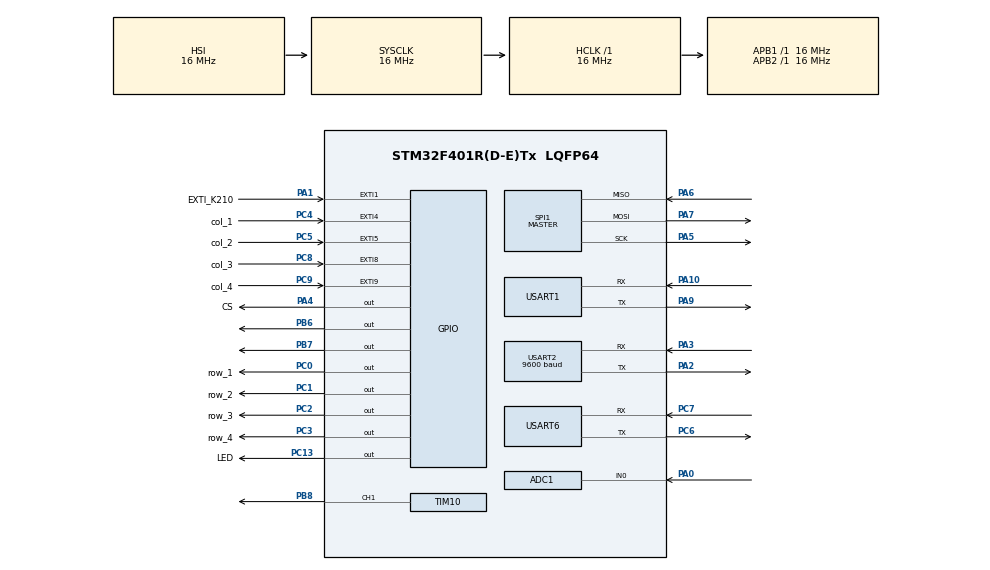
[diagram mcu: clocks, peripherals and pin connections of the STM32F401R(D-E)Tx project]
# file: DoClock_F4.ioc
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ADC1.Channel-0\#ChannelRegularConversion=ADC_CHANNEL_0
ADC1.NbrOfConversionFlag=1
ADC1.Rank-0\#ChannelRegularConversion=1
ADC1.SamplingTime-0\#ChannelRegularConversion=ADC_SAMPLETIME_3CYCLES
ADC1.master=1
FREERTOS.Queues01=xKeyIntQueue,16,uint16_t,0,Dynamic,NULL,NULL;xKeyValueQueue,16,uint16_t,0,Dynamic,NULL,NULL
FREERTOS.Tasks01=defaultTask,24,128,StartDefaultTask,Default,NULL,Dynamic,NULL,NULL;Menu1,8,128,vTaskMenu1,Default,NULL,Dynamic,NULL,NULL;Menu2,8,128,vTaskMenu2,Default,NULL,Dynamic,NULL,NULL;Menu3,8,128,vTaskMenu3,Default,NULL,Dynamic,NULL,NULL;KeyScan,16,128,vTaskKeyScan,Default,NULL,Dynamic,NULL,NULL;KeyProcess,8,128,vTaskKeyProcess,Default,NULL,Dynamic,NULL,NULL
Mcu.Family=STM32F4
Mcu.Name=STM32F401R(D-E)Tx
Mcu.Package=LQFP64
NVIC.EXTI1_IRQn=true\:5\:0\:false\:false\:true\:true\:true\:true\:true
NVIC.EXTI4_IRQn=true\:5\:0\:false\:false\:true\:true\:true\:true\:true
NVIC.EXTI9_5_IRQn=true\:5\:0\:false\:false\:true\:true\:true\:true\:true
NVIC.PriorityGroup=NVIC_PRIORITYGROUP_4
NVIC.TIM1_TRG_COM_TIM11_IRQn=true\:15\:0\:false\:false\:true\:false\:false\:true\:true
NVIC.TimeBase=TIM1_TRG_COM_TIM11_IRQn
NVIC.TimeBaseIP=TIM11
PA0-WKUP.Signal=ADCx_IN0
PA1.GPIO_Label=EXTI_K210
PA1.Signal=GPXTI1
PA10.Mode=Asynchronous
PA10.Signal=USART1_RX
PA13.Mode=Serial_Wire
PA13.Signal=SYS_JTMS-SWDIO
PA14.Mode=Serial_Wire
PA14.Signal=SYS_JTCK-SWCLK
PA2.Mode=Asynchronous
PA2.Signal=USART2_TX
PA3.Mode=Asynchronous
PA3.Signal=USART2_RX
PA4.GPIO_Label=CS
PA4.Signal=GPIO_Output
PA5.Mode=Full_Duplex_Master
PA5.Signal=SPI1_SCK
PA6.Mode=Full_Duplex_Master
PA6.Signal=SPI1_MISO
PA7.Mode=Full_Duplex_Master
PA7.Signal=SPI1_MOSI
PA9.Mode=Asynchronous
PA9.Signal=USART1_TX
PB6.Signal=GPIO_Output
PB7.Signal=GPIO_Output
PB8.Signal=S_TIM10_CH1
PC0.GPIO_Label=row_1
PC0.PinState=GPIO_PIN_SET
PC0.Signal=GPIO_Output
PC1.GPIO_Label=row_2
PC1.PinState=GPIO_PIN_SET
PC1.Signal=GPIO_Output
PC13-ANTI_TAMP.GPIO_Label=LED
PC13-ANTI_TAMP.Signal=GPIO_Output
PC14-OSC32_IN.Mode=LSE-External-Oscillator
PC14-OSC32_IN.Signal=RCC_OSC32_IN
PC15-OSC32_OUT.Mode=LSE-External-Oscillator
PC15-OSC32_OUT.Signal=RCC_OSC32_OUT
PC2.GPIO_Label=row_3
PC2.PinState=GPIO_PIN_SET
PC2.Signal=GPIO_Output
PC3.GPIO_Label=row_4
PC3.PinState=GPIO_PIN_SET
PC3.Signal=GPIO_Output
PC4.GPIO_Label=col_1
PC4.GPIO_PuPd=GPIO_PULLDOWN
PC4.Signal=GPXTI4
PC5.GPIO_Label=col_2
PC5.GPIO_PuPd=GPIO_PULLDOWN
PC5.Signal=GPXTI5
PC6.Mode=Asynchronous
PC6.Signal=USART6_TX
PC7.Mode=Asynchronous
PC7.Signal=USART6_RX
PC8.GPIO_Label=col_3
PC8.GPIO_PuPd=GPIO_PULLDOWN
PC8.Signal=GPXTI8
PC9.GPIO_Label=col_4
PC9.GPIO_PuPd=GPIO_PULLDOWN
PC9.Signal=GPXTI9
PH0\ -\ OSC_IN.Mode=HSE-External-Oscillator
PH0\ -\ OSC_IN.Signal=RCC_OSC_IN
PH1\ -\ OSC_OUT.Mode=HSE-External-Oscillator
PH1\ -\ OSC_OUT.Signal=RCC_OSC_OUT
ProjectManager.HeapSize=0x200
ProjectManager.StackSize=0x400
ProjectManager.TargetToolchain=MDK-ARM V5.32
RCC.AHBFreq_Value=16000000
RCC.APB1Freq_Value=16000000
RCC.APB2Freq_Value=16000000
RCC.CortexFreq_Value=16000000
RCC.HSE_VALUE=25000000
RCC.HSI_VALUE=16000000
RCC.RCC_RTC_Clock_Source=RCC_RTCCLKSOURCE_LSE
RCC.RCC_RTC_Clock_SourceVirtual=RCC_RTCCLKSOURCE_LSE
RCC.SYSCLKFreq_VALUE=16000000
RCC.VCOOutputFreq_Value=192000000
SH.ADCx_IN0.0=ADC1_IN0,IN0
SH.S_TIM10_CH1.0=TIM10_CH1,PWM Generation1 CH1
SPI1.Direction=SPI_DIRECTION_2LINES
SPI1.Mode=SPI_MODE_MASTER
SPI1.VirtualType=VM_MASTER
TIM10.Channel=TIM_CHANNEL_1
USART1.VirtualMode=VM_ASYNC
USART2.BaudRate=9600
USART2.VirtualMode=VM_ASYNC
USART6.VirtualMode=VM_ASYNC
VP_FREERTOS_VS_CMSIS_V2.Mode=CMSIS_V2
VP_RTC_VS_RTC_Activate.Mode=RTC_Enabled
VP_SYS_VS_tim11.Mode=TIM11
VP_TIM10_VS_ClockSourceINT.Mode=Enable_Timer
board=custom

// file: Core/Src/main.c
/* USER CODE BEGIN Header */
/**
  ******************************************************************************
  * @file           : main.c
  * @brief          : Main program body
  ******************************************************************************
  * @attention
  *
  * Copyright (c) 2025 STMicroelectronics.
  * All rights reserved.
  *
  * This software is licensed under terms that can be found in the LICENSE file
  * in the root directory of this software component.
  * If no LICENSE file comes with this software, it is provided AS-IS.
  *
  ******************************************************************************
  */
/* USER CODE END Header */
#include "main.h"
#include "cmsis_os.h"
#include "adc.h"
#include "rtc.h"
#include "spi.h"
#include "tim.h"
#include "usart.h"
#include "gpio.h"

/* USER CODE BEGIN Includes */
#include "queue.h"

/* USER CODE END Includes */

void SystemClock_Config(void);
void MX_FREERTOS_Init(void);

int main(void)
{

  /* MCU Configuration--------------------------------------------------------*/

  /* Reset of all peripherals, Initializes the Flash interface and the Systick. */
  HAL_Init();

  /* Configure the system clock */
  SystemClock_Config();

  /* Initialize all configured peripherals */
  MX_GPIO_Init();
  MX_RTC_Init();
  MX_TIM10_Init();
  MX_ADC1_Init();
  MX_SPI1_Init();
  MX_USART1_UART_Init();
  MX_USART2_UART_Init();
  MX_USART6_UART_Init();

  /* Init scheduler */
  osKernelInitialize();

  /* Call init function for freertos objects (in cmsis_os2.c) */
  MX_FREERTOS_Init();

  /* Start scheduler */
  osKernelStart();

  /* We should never get here as control is now taken by the scheduler */

  /* Infinite loop */
  while (1)
  {

  }
}

void SystemClock_Config(void)
{
  RCC_OscInitTypeDef RCC_OscInitStruct = {0};
  RCC_ClkInitTypeDef RCC_ClkInitStruct = {0};

  /** Configure the main internal regulator output voltage
  */
  __HAL_RCC_PWR_CLK_ENABLE();
  __HAL_PWR_VOLTAGESCALING_CONFIG(PWR_REGULATOR_VOLTAGE_SCALE2);

  /** Initializes the RCC Oscillators according to the specified parameters
  * in the RCC_OscInitTypeDef structure.
  */
  RCC_OscInitStruct.OscillatorType = RCC_OSCILLATORTYPE_HSI|RCC_OSCILLATORTYPE_LSE;
  RCC_OscInitStruct.LSEState = RCC_LSE_ON;
  RCC_OscInitStruct.HSIState = RCC_HSI_ON;
  RCC_OscInitStruct.HSICalibrationValue = RCC_HSICALIBRATION_DEFAULT;
  RCC_OscInitStruct.PLL.PLLState = RCC_PLL_NONE;
  if (HAL_RCC_OscConfig(&RCC_OscInitStruct) != HAL_OK)
  {
    Error_Handler();
  }

  /** Initializes the CPU, AHB and APB buses clocks
  */
  RCC_ClkInitStruct.ClockType = RCC_CLOCKTYPE_HCLK|RCC_CLOCKTYPE_SYSCLK
                              |RCC_CLOCKTYPE_PCLK1|RCC_CLOCKTYPE_PCLK2;
  RCC_ClkInitStruct.SYSCLKSource = RCC_SYSCLKSOURCE_HSI;
  RCC_ClkInitStruct.AHBCLKDivider = RCC_SYSCLK_DIV1;
  RCC_ClkInitStruct.APB1CLKDivider = RCC_HCLK_DIV1;
  RCC_ClkInitStruct.APB2CLKDivider = RCC_HCLK_DIV1;

  /**
   * 调用 HAL_RCC_ClockConfig(&RCC_ClkInitStruct, FLASH_LATENCY_0) 将 RCC_ClkInitStruct 中
   * 的时钟配置应用到硬件并将 Flash 访问延迟设置为 0（FLASH_LATENCY_0，适用于较低频率）。
   * HAL_RCC_ClockConfig 返回 HAL_StatusTypeDef：在成功时返回 HAL_OK。
   * 该 if 判断返回值是否不等于 HAL_OK，即检测时钟/Flash 配置是否失败；若失败，随后应执行相应的错误处理逻辑。
   */
  if (HAL_RCC_ClockConfig(&RCC_ClkInitStruct, FLASH_LATENCY_0) != HAL_OK)
  {
    Error_Handler();
  }
}

void HAL_TIM_PeriodElapsedCallback(TIM_HandleTypeDef *htim)
{
  if (htim->Instance == TIM11) {
    HAL_IncTick();
  }
}

void Error_Handler(void)
{
  __disable_irq();
  while (1)
  {
  }
}

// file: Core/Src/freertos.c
/* USER CODE BEGIN Header */
/**
  ******************************************************************************
  * File Name          : freertos.c
  * Description        : Code for freertos applications
  ******************************************************************************
  * @attention
  *
  * Copyright (c) 2025 STMicroelectronics.
  * All rights reserved.
  *
  * This software is licensed under terms that can be found in the LICENSE file
  * in the root directory of this software component.
  * If no LICENSE file comes with this software, it is provided AS-IS.
  *
  ******************************************************************************
  */
/* USER CODE END Header */

#include "FreeRTOS.h"
#include "task.h"
#include "main.h"
#include "cmsis_os.h"

/* USER CODE BEGIN Includes */

#include "key.h"
#include "OLED.h"
#include "menu.h"
#include "string.h"
#include "queue.h"

/* USER CODE END Includes */

/* Definitions for defaultTask */
osThreadId_t defaultTaskHandle;
const osThreadAttr_t defaultTask_attributes = {
  .name = "defaultTask",
  .stack_size = 128 * 4,
  .priority = (osPriority_t) osPriorityNormal,
};
/* Definitions for Menu1 */
osThreadId_t Menu1Handle;
const osThreadAttr_t Menu1_attributes = {
  .name = "Menu1",
  .stack_size = 128 * 4,
  .priority = (osPriority_t) osPriorityLow,
};
/* Definitions for Menu2 */
osThreadId_t Menu2Handle;
const osThreadAttr_t Menu2_attributes = {
  .name = "Menu2",
  .stack_size = 128 * 4,
  .priority = (osPriority_t) osPriorityLow,
};
/* Definitions for Menu3 */
osThreadId_t Menu3Handle;
const osThreadAttr_t Menu3_attributes = {
  .name = "Menu3",
  .stack_size = 128 * 4,
  .priority = (osPriority_t) osPriorityLow,
};
/* Definitions for KeyScan */
osThreadId_t KeyScanHandle;
const osThreadAttr_t KeyScan_attributes = {
  .name = "KeyScan",
  .stack_size = 128 * 4,
  .priority = (osPriority_t) osPriorityBelowNormal,
};
/* Definitions for KeyProcess */
osThreadId_t KeyProcessHandle;
const osThreadAttr_t KeyProcess_attributes = {
  .name = "KeyProcess",
  .stack_size = 128 * 4,
  .priority = (osPriority_t) osPriorityLow,
};
/* Definitions for xKeyIntQueue */
osMessageQueueId_t xKeyIntQueueHandle;
const osMessageQueueAttr_t xKeyIntQueue_attributes = {
  .name = "xKeyIntQueue"
};
/* Definitions for xKeyValueQueue */
osMessageQueueId_t xKeyValueQueueHandle;
const osMessageQueueAttr_t xKeyValueQueue_attributes = {
  .name = "xKeyValueQueue"
};

void StartDefaultTask(void *argument);
void vTaskMenu1(void *argument);
void vTaskMenu2(void *argument);
void vTaskMenu3(void *argument);
void vTaskKeyScan(void *argument);
void vTaskKeyProcess(void *argument);

void MX_FREERTOS_Init(void); /* (MISRA C 2004 rule 8.1) */

void MX_FREERTOS_Init(void) {

  /* Create the queue(s) */
  /* creation of xKeyIntQueue */
  xKeyIntQueueHandle = osMessageQueueNew (16, sizeof(uint16_t), &xKeyIntQueue_attributes);

  /* creation of xKeyValueQueue */
  xKeyValueQueueHandle = osMessageQueueNew (16, sizeof(uint16_t), &xKeyValueQueue_attributes);

  /* Create the thread(s) */
  /* creation of defaultTask */
  defaultTaskHandle = osThreadNew(StartDefaultTask, NULL, &defaultTask_attributes);

  /* creation of Menu1 */
  Menu1Handle = osThreadNew(vTaskMenu1, NULL, &Menu1_attributes);

  /* creation of Menu2 */
  Menu2Handle = osThreadNew(vTaskMenu2, NULL, &Menu2_attributes);

  /* creation of Menu3 */
  Menu3Handle = osThreadNew(vTaskMenu3, NULL, &Menu3_attributes);

  /* creation of KeyScan */
  KeyScanHandle = osThreadNew(vTaskKeyScan, NULL, &KeyScan_attributes);

  /* creation of KeyProcess */
  KeyProcessHandle = osThreadNew(vTaskKeyProcess, NULL, &KeyProcess_attributes);

}

void StartDefaultTask(void *argument)
{
  /* USER CODE BEGIN StartDefaultTask */
  HAL_GPIO_WritePin(LED_GPIO_Port, LED_Pin, GPIO_PIN_SET);
  /* Infinite loop */
  for(;;)
  {
    osDelay(1);
  }
  /* USER CODE END StartDefaultTask */
}

void vTaskMenu1(void *argument)
{
  /* USER CODE BEGIN vTaskMenu1 */

	osDelay(100);
	OLED_Init();
	menu_Init();
  OLED_ShowString(1, 1, "Hello MyFriend!");

  /* Infinite loop */
  for(;;)
  {
    // 只在当前是第一级菜单时执行
       if (currentMenuLevel == 1)
       {
       // 菜单初始化显示
         if (menuNeedsInit[1] == 1)
         {
           // 使用通用函数显示菜单
           displayMenu(&menuData[0], currentSelection);

           // 标记第一级菜单已初始化
           menuNeedsInit[1] = 0;

         }

       // 处理按键
         if (Key_Num != 0)
         {
           // 使用通用导航函数处理菜单导航
            navigateMenu(Key_Num);

         }
       }

      // 任务延时100ms，让出CPU给其他任务
      osDelay(100);
  }
  /* USER CODE END vTaskMenu1 */
}

void vTaskMenu2(void *argument)
{
  /* USER CODE BEGIN vTaskMenu2 */
  /* Infinite loop */
  for(;;)
  {
     // 只在当前是第二级菜单时执行
     if (currentMenuLevel == 2)
     {

     // 使用getCurrentMenu获取当前活动菜单
       MenuItem* currentMenu = getCurrentMenu();

     // 菜单初始化显示
       if (menuNeedsInit[2] == 1 && currentMenu != NULL)
       {
         // 使用通用函数显示菜单
           displayMenu(currentMenu, currentSelection);
         // 标记第二级菜单已初始化
           menuNeedsInit[2] = 0;
       }

     // 处理按键
         if (Key_Num != 0)
         {
           // 使用通用导航函数处理菜单导航
            navigateMenu(Key_Num);
         }
       }

      // 任务延时50ms，让出CPU给其他任务
      osDelay(50);
  }
  /* USER CODE END vTaskMenu2 */
}

void vTaskMenu3(void *argument)
{
  /* USER CODE BEGIN vTaskMenu3 */
  /* Infinite loop */
  for(;;)
  {
     // 只在当前是第三级菜单时执行
     if (currentMenuLevel == 3)
     {

     // 使用getCurrentMenu获取当前活动菜单
       MenuItem* currentMenu = getCurrentMenu();

     // 显示菜单内容
       if (currentMenu != NULL && menuNeedsInit[3] == 1)
       {
         // 显示标题
           OLED_ShowString(1, 1, currentMenu->title);

         // 显示内容
           for (uint8_t i = 0; i < 4; i++)
           {

             if (strlen((char*)currentMenu->content[i]) > 0)
             {

               OLED_ShowString(i + 1, 3, currentMenu->content[i]);
             }
           }

           // 如果是LED相关菜单，设置LED模式
           if (currentMenu->ledMode != 0)
           {
             LED_mode = currentMenu->ledMode;

           }

           menuNeedsInit[3] = 0;
       }

     // 处理返回键
         if (Key_Num == KEY_BACK)
         {
           navigateMenu(KEY_BACK);
         }

     }

    // 任务延时50ms
    osDelay(50);
  }
  /* USER CODE END vTaskMenu3 */
}

void vTaskKeyScan(void *argument)
{
  /* USER CODE BEGIN vTaskKeyScan */
  uint8_t row;
	uint8_t received_val;  // 从队列接收的值（仅用于通知，实际值未使用）
	uint8_t key_value = 0;   // 按键值（高4位表示行，低4位表示列）

  /* Infinite loop */
  for(;;)
  {
		// 等待从队列接收信号（由外部中断回调函数触发）
		// portMAX_DELAY表示无限期等待
      if(xQueueReceive(xKeyIntQueueHandle, &received_val, portMAX_DELAY) == pdPASS)
      {
        // 执行实际的矩阵键盘扫描
        for( row =0; row < Rows; row++ )  // 遍历所有行
        {
          // 先将所有行置为低电平
            HAL_GPIO_WritePin(row_1_GPIO_Port, row_1_Pin, GPIO_PIN_RESET);
            HAL_GPIO_WritePin(row_2_GPIO_Port, row_2_Pin, GPIO_PIN_RESET);
            HAL_GPIO_WritePin(row_3_GPIO_Port, row_3_Pin, GPIO_PIN_RESET);
            HAL_GPIO_WritePin(row_4_GPIO_Port, row_4_Pin, GPIO_PIN_RESET);

          // 将当前行置为高电平
            switch (row)
            {
                case 0: HAL_GPIO_WritePin(row_1_GPIO_Port, row_1_Pin, GPIO_PIN_SET); break;
                case 1: HAL_GPIO_WritePin(row_2_GPIO_Port, row_2_Pin, GPIO_PIN_SET); break;
                case 2: HAL_GPIO_WritePin(row_3_GPIO_Port, row_3_Pin, GPIO_PIN_SET); break;
                case 3: HAL_GPIO_WritePin(row_4_GPIO_Port, row_4_Pin, GPIO_PIN_SET); break;
            }

              osDelay(10);  // 短暂延时，确保电平稳定

          // 检测列引脚状态
            if (HAL_GPIO_ReadPin(col_1_GPIO_Port, col_1_Pin) == GPIO_PIN_SET)
            {
                key_value = KeyMap[row][0];
              // 将按键值发送到队列，供其他任务处理
                xQueueSend(xKeyValueQueueHandle, &key_value, portMAX_DELAY);
                break;
            }
            else if (HAL_GPIO_ReadPin(col_2_GPIO_Port, col_2_Pin) == GPIO_PIN_SET)
            {
                key_value = KeyMap[row][1];
                xQueueSend(xKeyValueQueueHandle, &key_value, portMAX_DELAY);
                break;
            }
            else if (HAL_GPIO_ReadPin(col_3_GPIO_Port, col_3_Pin) == GPIO_PIN_SET)
            {
                key_value = KeyMap[row][2];
                xQueueSend(xKeyValueQueueHandle, &key_value, portMAX_DELAY);
                break;
            }
            else if (HAL_GPIO_ReadPin(col_4_GPIO_Port, col_4_Pin) == GPIO_PIN_SET)
            {
                key_value = KeyMap[row][3];
                xQueueSend(xKeyValueQueueHandle, &key_value, portMAX_DELAY);
                break;
            }

        }

        HAL_GPIO_WritePin(row_1_GPIO_Port, row_1_Pin, GPIO_PIN_SET);
        HAL_GPIO_WritePin(row_2_GPIO_Port, row_2_Pin, GPIO_PIN_SET);
        HAL_GPIO_WritePin(row_3_GPIO_Port, row_3_Pin, GPIO_PIN_SET);
        HAL_GPIO_WritePin(row_4_GPIO_Port, row_4_Pin, GPIO_PIN_SET);

      }
  }
  /* USER CODE END vTaskKeyScan */
}

void vTaskKeyProcess(void *argument)
{
  /* USER CODE BEGIN vTaskKeyProcess */

  uint8_t received_key = 0;

  /* Infinite loop */
  for(;;)
  {
    // 等待从队列接收按键值
    if(xQueueReceive(xKeyValueQueueHandle, &received_key, portMAX_DELAY) == pdPASS)
    {
      // 处理按键值
      switch(received_key)
      {
        case '1':
          // 处理按键1的逻辑
          OLED_Clear();
          osDelay(5);
          OLED_ShowString(2, 1, "Hello Seviffer");
					received_key = 0;
          break;
        case '2':
          // 处理按键2的逻辑
          OLED_Clear();
					osDelay(5);
          OLED_ShowString(2, 1, "Hello Sev2");
					received_key = 0;
          break;
        case '3':
          // 处理按键3的逻辑
          OLED_Clear();
          osDelay(5);
          OLED_ShowString(2, 1, "Hello Sev3");
					received_key = 0;
          break;
        case '4':
          // 处理按键4的逻辑
          OLED_Clear();
          osDelay(5);
          OLED_ShowString(2, 1, "Hello Sev4");
					received_key = 0;
          break;
        case '5':
          // 处理按键5的逻辑
          OLED_Clear();
          osDelay(5);
          OLED_ShowString(2, 1, "Hello Sev5");
					received_key = 0;
          break;
        case '6':
          // 处理按键6的逻辑
          OLED_Clear();
          osDelay(5);
          OLED_ShowString(2, 1, "Hello Sev6");
					received_key = 0;
          break;
        case '7':
          // 处理按键7的逻辑
          OLED_Clear();
          osDelay(5);
          OLED_ShowString(2, 1, "Hello Sev7");
					received_key = 0;
          break;
        case '8':
          // 处理按键8的逻辑
          OLED_Clear();
          osDelay(5);
          OLED_ShowString(2, 1, "Hello Sev8");
					received_key = 0;
          break;
        case 'A':
          // 处理按键9的逻辑
          OLED_Clear();
          osDelay(5);
          OLED_ShowString(2, 1, "Hello Sev9");
					received_key = 0;
          break;

        // 其他按键情况...
      }
    }
    osDelay(10);
  }
  /* USER CODE END vTaskKeyProcess */
}
